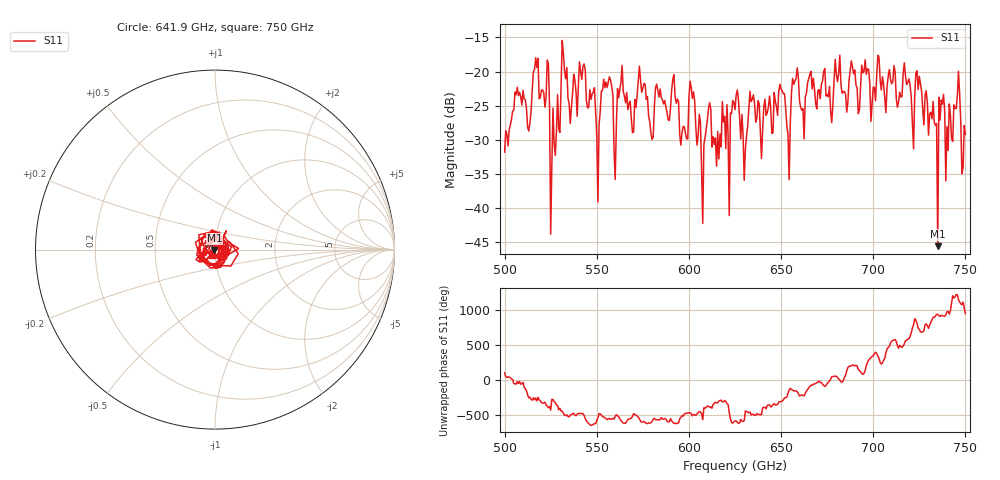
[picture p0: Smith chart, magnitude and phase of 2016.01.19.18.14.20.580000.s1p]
!Created with skrf (http://scikit-rf.org).
# GHz S RI R 50.0
!freq ReS11 ImS11
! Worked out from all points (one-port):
!   401 points, 500 GHz to 750 GHz, reference 50 ohm
!   lowest |S11| = -45.5 dB at 735 GHz (marker M1), VSWR 1.01, Z = 49.6 - j0.37 ohm
!   |S11| at or under -10 dB: start of sweep to end of sweep
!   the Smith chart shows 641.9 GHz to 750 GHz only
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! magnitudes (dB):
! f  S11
! 500 GHz  -31.8
! 506.9 GHz  -22.3
! 513.1 GHz  -28.7
! 516.9 GHz  -18.0
! 523.1 GHz  -18.3
! 526.2 GHz  -25.3
! 531.2 GHz  -15.4
! 542.5 GHz  -19.3
! 550.6 GHz  -39.1
! 553.8 GHz  -21.1
! 560.6 GHz  -28.0
! 562.5 GHz  -22.6
! 593.8 GHz  -24.0
! 601.9 GHz  -23.9
! 608.1 GHz  -30.6
! 610.6 GHz  -25.4
! 620.6 GHz  -24.8
! 625 GHz  -25.6
! 630.6 GHz  -31.3
! 633.8 GHz  -24.4
! 650.6 GHz  -22.8
! 653.8 GHz  -29.2
! 656.2 GHz  -21.0
! 687.5 GHz  -19.9
! 718.8 GHz  -21.5
! 735 GHz  -45.5
! 745.6 GHz  -23.6
! 750 GHz  -29.2
